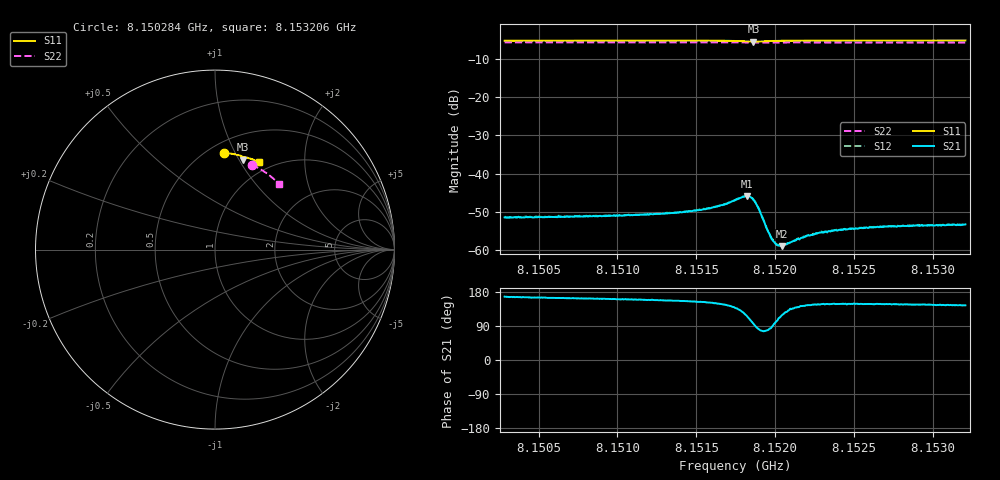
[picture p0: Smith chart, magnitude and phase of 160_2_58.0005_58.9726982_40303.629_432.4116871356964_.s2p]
#  HZ  S  RI  R  50.00
! Rohde & Schwarz Vector Network Analyzer
! Rohde-Schwarz,ZNB20-2Port,1311601062101988,3.16
! Created: UTC 3/21/2024, 12:57:24 AM
! freq[Hz]  re:S11  im:S11  re:S21  im:S21  re:S12  im:S12  re:S22  im:S22
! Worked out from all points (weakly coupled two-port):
!   401 points, 8.150284 GHz to 8.153206 GHz, reference 50 ohm
!   highest |S21| = -45.90 dB at 8.151818 GHz (marker M1); lowest = -59.0 dB at 8.152045 GHz (marker M2)
!   lowest |S11| = -5.6 dB at 8.151862 GHz (marker M3), VSWR 3.21, Z = 37.4 + j51.8 ohm
!   |S11| at or under -10 dB: nowhere
!   |S22| runs from -5.8 to -5.8 dB; largest |S21 - S12| = 0.00012
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8.1502845e9  0.0515 0.5387  -0.00261 0.000598  -0.00263 0.000694  0.2046 0.473
8.1507739e9  0.0859 0.5351  -0.00263 0.000816  -0.00268 0.000875  0.233 0.4591
8.1512633e9  0.1206 0.5288  -0.00276 0.00114  -0.00273 0.00117  0.2604 0.4435
8.1514605e9  0.1349 0.5253  -0.00292 0.00138  -0.00292 0.00142  0.2712 0.4366
8.15157e9  0.1435 0.5227  -0.00308 0.00164  -0.00311 0.00169  0.2772 0.4327
8.1516796e9  0.1524 0.5184  -0.00327 0.0022  -0.00328 0.00226  0.2829 0.4286
8.1517453e9  0.1579 0.5137  -0.00333 0.00301  -0.00331 0.00303  0.2864 0.426
8.1517892e9  0.1601 0.5084  -0.003 0.00389  -0.00295 0.00398  0.2884 0.4243
8.1518184e9  0.1593 0.5043  -0.00231 0.00451  -0.00228 0.00458  0.29 0.4232
8.1518403e9  0.1567 0.5017  -0.00142 0.00477  -0.00139 0.00482  0.2909 0.4223
8.1518622e9  0.1533 0.5016  -0.00047 0.00451  -0.000388 0.00458  0.2917 0.4216
8.1518914e9  0.1502 0.5047  0.000456 0.00357  0.000514 0.00363  0.2933 0.4207
8.1519572e9  0.1534 0.5127  0.000313 0.00169  0.000292 0.00167  0.2966 0.4184
8.1519864e9  0.1567 0.5143  -2.49e-05 0.00132  -2.73e-05 0.00137  0.2982 0.4175
8.1520156e9  0.1599 0.515  -0.000308 0.00112  -0.000331 0.00114  0.3 0.4163
8.1520448e9  0.1627 0.5152  -0.00055 0.000985  -0.000535 0.00104  0.3015 0.4154
8.1521544e9  0.1725 0.5142  -0.00107 0.000879  -0.00112 0.000922  0.3072 0.411
8.1522347e9  0.1789 0.5128  -0.00131 0.000884  -0.00133 0.000902  0.3112 0.4077
8.1522712e9  0.1817 0.512  -0.00141 0.000912  -0.00141 0.000897  0.3131 0.4062
8.1523735e9  0.189 0.5099  -0.00155 0.000943  -0.00153 0.000982  0.3181 0.4023
8.1527241e9  0.2131 0.5012  -0.00174 0.0011  -0.00172 0.00115  0.3352 0.3875
8.1532062e9  0.244 0.4877  -0.00176 0.00127  -0.00173 0.00131  0.3572 0.3663
